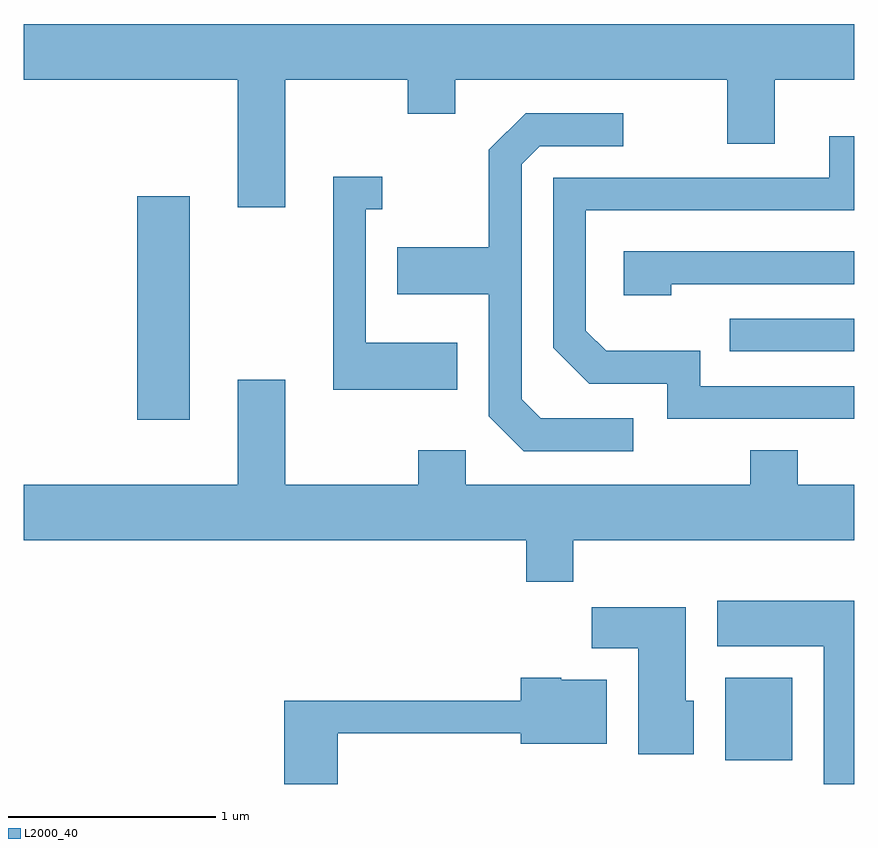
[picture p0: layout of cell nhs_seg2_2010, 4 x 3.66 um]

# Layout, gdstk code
import gdstk
lib = gdstk.Library(unit=1e-6, precision=1e-09)
def R(c, l, rs):  # rectangles x0, y0, x1, y1
    for r in rs: c.add(gdstk.rectangle(r[:2], r[2:], *l))
def P(c, l, *ps):  # polygons
    for p in ps: c.add(gdstk.Polygon(p, *l))
L2000_40 = (2000, 40)

nhs_seg2_2010 = lib.new_cell('nhs_seg2_2010')
R(nhs_seg2_2010, L2000_40, [(246.991,1053.916,247.314,1054.314), (244.156,1055.556,244.409,1056.634), (247.013,1055.886,247.611,1056.044)])
P(nhs_seg2_2010, L2000_40, [(244.869,1057.196),(245.461,1057.196),(245.461,1057.031),(245.689,1057.031),(245.689,1057.196),(247.001,1057.196),(247.001,1056.886),(247.229,1056.886),(247.229,1057.196),(247.611,1057.196),(247.611,1057.464),(243.611,1057.464),(243.611,1057.196),(244.641,1057.196),(244.641,1056.581),(244.869,1056.581)],
  [(246.548,1055.564),(246.102,1055.564),(246.009,1055.657),(246.009,1056.789),(246.097,1056.876),(246.498,1056.876),(246.498,1057.034),(246.029,1057.034),(245.851,1056.857),(245.851,1056.389),(245.411,1056.389),(245.411,1056.161),(245.851,1056.161),(245.851,1055.574),(246.019,1055.406),(246.548,1055.406)],
  [(247.611,1055.719),(246.869,1055.719),(246.869,1055.889),(246.417,1055.889),(246.319,1055.987),(246.319,1056.566),(247.611,1056.566),(247.611,1056.923),(247.491,1056.923),(247.491,1056.724),(246.161,1056.724),(246.161,1055.904),(246.334,1055.731),(246.711,1055.731),(246.711,1055.561),(247.611,1055.561)],
  [(245.699,1055.929),(245.259,1055.929),(245.259,1056.571),(245.338,1056.571),(245.338,1056.729),(245.101,1056.729),(245.101,1055.701),(245.699,1055.701)],
  [(246.729,1056.211),(247.611,1056.211),(247.611,1056.369),(246.501,1056.369),(246.501,1056.156),(246.729,1056.156)],
  [(246.259,1054.976),(247.611,1054.976),(247.611,1055.244),(247.339,1055.244),(247.339,1055.409),(247.111,1055.409),(247.111,1055.244),(245.739,1055.244),(245.739,1055.409),(245.511,1055.409),(245.511,1055.244),(244.869,1055.244),(244.869,1055.749),(244.641,1055.749),(244.641,1055.244),(243.611,1055.244),(243.611,1054.976),(246.031,1054.976),(246.031,1054.776),(246.259,1054.776)],
  [(247.611,1054.684),(246.951,1054.684),(246.951,1054.466),(247.466,1054.466),(247.466,1053.802),(247.611,1053.802)],
  [(246.839,1054.204),(246.799,1054.204),(246.799,1054.654),(246.346,1054.654),(246.346,1054.456),(246.571,1054.456),(246.571,1053.946),(246.839,1053.946)],
  [(245.124,1054.046),(246.006,1054.046),(246.006,1053.996),(246.419,1053.996),(246.419,1054.304),(246.2,1054.304),(246.2,1054.314),(246.006,1054.314),(246.006,1054.204),(244.866,1054.204),(244.866,1053.802),(245.124,1053.802)])

lib.write_gds('nhs_seg2_2010.gds')
